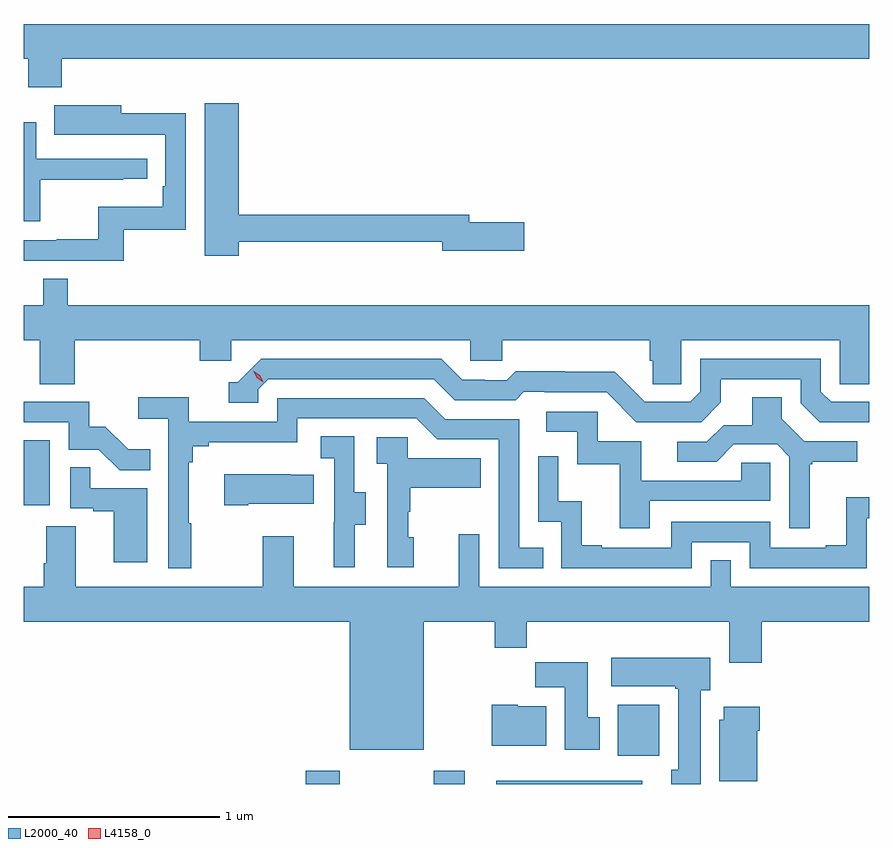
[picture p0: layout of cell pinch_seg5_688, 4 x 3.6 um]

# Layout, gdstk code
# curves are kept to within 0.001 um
import gdstk
lib = gdstk.Library(unit=1e-6, precision=1e-09)
def R(c, l, rs):  # rectangles x0, y0, x1, y1
    for r in rs: c.add(gdstk.rectangle(r[:2], r[2:], *l))
def P(c, l, *ps):  # polygons
    for p in ps: c.add(gdstk.Polygon(p, *l))
L2000_40 = (2000, 40)
L4158_0 = (4158, 0)

pinch_seg5_688 = lib.new_cell('pinch_seg5_688')
R(pinch_seg5_688, L2000_40, [(1090.661,842.671,1090.821,842.734), (1091.266,842.671,1091.413,842.734), (1091.561,842.671,1092.253,842.686), (1092.137,842.804,1092.334,843.046), (1089.326,843.99,1089.448,844.297)])
P(pinch_seg5_688, L2000_40, [(1089.506,846.104),(1093.326,846.104),(1093.326,846.268),(1089.326,846.268),(1089.326,846.104),(1089.346,846.104),(1089.346,845.969),(1089.506,845.969)],
  [(1090.342,845.238),(1091.306,845.238),(1091.306,845.195),(1091.695,845.195),(1091.695,845.33),(1091.434,845.33),(1091.434,845.366),(1090.342,845.366),(1090.342,845.893),(1090.181,845.893),(1090.181,845.172),(1090.342,845.172)],
  [(1089.799,845.295),(1090.092,845.295),(1090.092,845.846),(1089.787,845.846),(1089.787,845.884),(1089.469,845.884),(1089.469,845.744),(1089.683,845.744),(1089.683,845.745),(1089.996,845.745),(1089.996,845.5),(1089.983,845.5),(1089.983,845.404),(1089.678,845.404),(1089.678,845.249),(1089.481,845.249),(1089.481,845.244),(1089.326,845.244),(1089.326,845.148),(1089.799,845.148)],
  [(1089.404,845.53),(1089.797,845.53),(1089.797,845.535),(1089.91,845.535),(1089.91,845.631),(1089.384,845.631),(1089.384,845.803),(1089.326,845.803),(1089.326,845.334),(1089.404,845.334)],
  [(1089.566,844.772),(1090.157,844.772),(1090.157,844.674),(1090.308,844.674),(1090.308,844.772),(1091.439,844.772),(1091.439,844.674),(1091.589,844.674),(1091.589,844.772),(1092.287,844.772),(1092.287,844.674),(1092.301,844.674),(1092.301,844.564),(1092.438,844.564),(1092.438,844.772),(1093.188,844.772),(1093.188,844.564),(1093.326,844.564),(1093.326,844.936),(1089.533,844.936),(1089.533,845.063),(1089.417,845.063),(1089.417,844.936),(1089.326,844.936),(1089.326,844.772),(1089.401,844.772),(1089.401,844.564),(1089.566,844.564)],
  [(1093.326,844.479),(1093.146,844.479),(1093.098,844.527),(1093.098,844.683),(1092.528,844.683),(1092.528,844.527),(1092.48,844.479),(1092.264,844.479),(1092.122,844.621),(1091.886,844.621),(1091.886,844.624),(1091.653,844.624),(1091.611,844.581),(1091.508,844.581),(1091.508,844.584),(1091.401,844.584),(1091.302,844.683),(1090.449,844.683),(1090.338,844.572),(1090.295,844.572),(1090.295,844.476),(1090.434,844.476),(1090.434,844.539),(1090.482,844.587),(1091.265,844.587),(1091.364,844.488),(1091.653,844.488),(1091.692,844.527),(1091.791,844.527),(1091.791,844.524),(1092.084,844.524),(1092.225,844.383),(1092.531,844.383),(1092.625,844.477),(1092.625,844.587),(1093.002,844.587),(1093.002,844.473),(1093.092,844.383),(1093.326,844.382)],
  [(1090.117,843.905),(1090.105,843.905),(1090.105,844.193),(1090.124,844.193),(1090.124,844.27),(1090.201,844.27),(1090.201,844.289),(1090.62,844.289),(1090.62,844.401),(1091.184,844.401),(1091.283,844.302),(1091.574,844.302),(1091.574,843.693),(1091.783,843.693),(1091.783,843.789),(1091.67,843.789),(1091.67,844.398),(1091.32,844.398),(1091.221,844.497),(1090.524,844.497),(1090.524,844.386),(1090.106,844.386),(1090.106,844.502),(1089.867,844.502),(1089.867,844.4),(1090.008,844.4),(1090.008,843.693),(1090.117,843.693)],
  [(1093.045,844.185),(1093.057,844.185),(1093.057,844.196),(1093.27,844.196),(1093.27,844.293),(1093.02,844.293),(1092.913,844.4),(1092.913,844.502),(1092.773,844.502),(1092.773,844.37),(1092.638,844.37),(1092.558,844.29),(1092.417,844.29),(1092.417,844.197),(1092.604,844.197),(1092.685,844.278),(1092.891,844.278),(1092.948,844.221),(1092.948,843.882),(1093.045,843.882)],
  [(1089.923,844.255),(1089.819,844.255),(1089.712,844.362),(1089.636,844.362),(1089.636,844.479),(1089.326,844.479),(1089.326,844.383),(1089.537,844.383),(1089.537,844.254),(1089.681,844.254),(1089.779,844.156),(1089.923,844.156)],
  [(1092.289,844.011),(1092.858,844.011),(1092.858,844.191),(1092.721,844.191),(1092.721,844.107),(1092.247,844.107),(1092.247,844.293),(1092.042,844.293),(1092.042,844.434),(1091.799,844.434),(1091.799,844.338),(1091.946,844.338),(1091.946,844.185),(1092.145,844.185),(1092.145,843.882),(1092.289,843.882)],
  [(1090.891,843.898),(1090.945,843.898),(1090.945,844.053),(1090.89,844.053),(1090.89,844.316),(1090.731,844.316),(1090.731,844.213),(1090.794,844.213),(1090.794,843.909),(1090.793,843.909),(1090.793,843.696),(1090.891,843.696)],
  [(1091.17,843.84),(1091.145,843.84),(1091.145,843.959),(1091.155,843.959),(1091.155,844.073),(1091.489,844.073),(1091.489,844.213),(1091.142,844.213),(1091.142,844.311),(1090.995,844.311),(1090.995,844.187),(1091.046,844.187),(1091.046,843.696),(1091.17,843.696)],
  [(1092.486,843.816),(1092.762,843.816),(1092.762,843.693),(1093.314,843.693),(1093.314,843.929),(1093.326,843.929),(1093.326,844.027),(1093.217,844.027),(1093.217,843.802),(1093.121,843.802),(1093.121,843.789),(1092.858,843.789),(1092.858,843.912),(1092.39,843.912),(1092.39,843.789),(1092.061,843.789),(1092.061,843.802),(1091.966,843.802),(1091.966,844.01),(1091.856,844.01),(1091.856,844.222),(1091.76,844.222),(1091.76,843.912),(1091.868,843.912),(1091.868,843.693),(1092.486,843.693)],
  [(1089.91,844.071),(1089.641,844.071),(1089.641,844.169),(1089.546,844.169),(1089.546,843.975),(1089.653,843.975),(1089.653,843.963),(1089.752,843.963),(1089.752,843.72),(1089.91,843.72)],
  [(1090.387,843.998),(1090.697,843.998),(1090.697,844.135),(1090.589,844.135),(1090.589,844.138),(1090.275,844.138),(1090.275,843.991),(1090.387,843.991)],
  [(1090.456,843.844),(1090.456,843.604),(1089.571,843.604),(1089.571,843.89),(1089.431,843.89),(1089.431,843.716),(1089.419,843.716),(1089.419,843.604),(1089.326,843.604),(1089.326,843.44),(1090.868,843.44),(1090.868,842.834),(1091.218,842.834),(1091.218,843.44),(1091.554,843.44),(1091.554,843.316),(1091.705,843.316),(1091.705,843.44),(1092.665,843.44),(1092.665,843.246),(1092.818,843.246),(1092.818,843.44),(1093.326,843.44),(1093.326,843.604),(1092.672,843.604),(1092.672,843.731),(1092.576,843.731),(1092.576,843.604),(1091.481,843.604),(1091.481,843.853),(1091.384,843.853),(1091.384,843.604),(1090.603,843.604),(1090.603,843.844)],
  [(1092.529,843.114),(1092.574,843.114),(1092.574,843.268),(1092.105,843.268),(1092.105,843.134),(1092.409,843.134),(1092.409,843.121),(1092.422,843.121),(1092.422,842.738),(1092.389,842.738),(1092.389,842.671),(1092.529,842.671)],
  [(1092.052,842.988),(1091.995,842.988),(1091.995,843.247),(1091.746,843.247),(1091.746,843.128),(1091.885,843.128),(1091.885,842.832),(1092.052,842.832)],
  [(1091.797,843.04),(1091.664,843.04),(1091.664,843.046),(1091.539,843.046),(1091.539,842.852),(1091.797,842.852)],
  [(1092.796,842.924),(1092.809,842.924),(1092.809,843.037),(1092.638,843.037),(1092.638,842.976),(1092.617,842.976),(1092.617,842.684),(1092.796,842.684)])
P(pinch_seg5_688, L4158_0, [(1090.458,844.573),(1090.428,844.593),(1090.412,844.626),(1090.412,844.627),(1090.412,844.627),(1090.443,844.606),(1090.459,844.574),(1090.459,844.573)])

lib.write_gds('pinch_seg5_688.gds')
